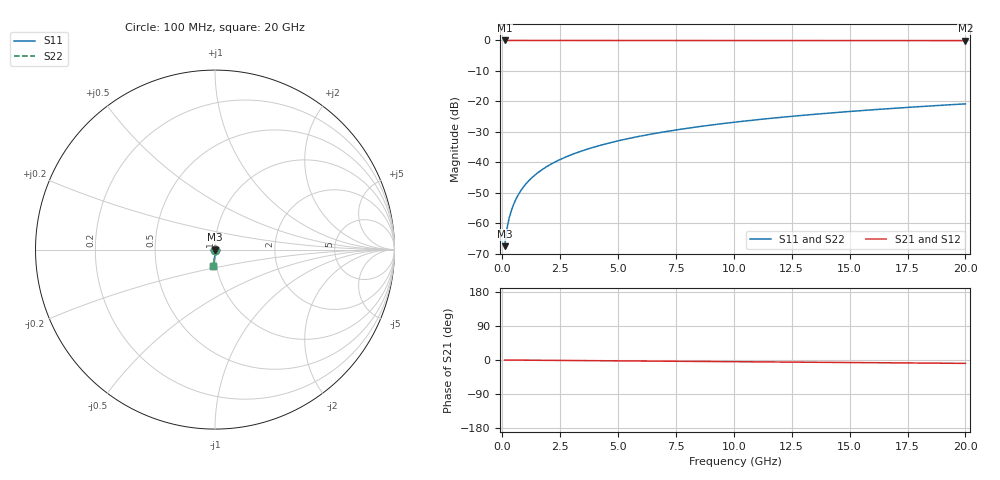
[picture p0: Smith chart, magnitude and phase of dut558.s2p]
! Touchstone file exported from HFSS 2026.1.0
!  File:  C:/ffzhzh/LocalFiles/Ansys_Project_Files/temp_train_TSV_558_1783024461_46388.aedt
!  Generated:  04:35:50 AM Jul  3, 2026
!  Design:  TSV
!  Project:  temp_train_TSV_558_1783024461_46388
! Variables:
!  h_bsmrdl = 2um
!  h_ox = 20um
!  h_rdl = 5um
!  h_sub = 77.41um
!  h_tmrdl = 5um
!  h_tsv = 77.41um
!  h_via = 3um
!  l_bsmrdl = 300um
!  l_sub = 420.3um
!  l_tmrdl = 200um
!  m_sub = 200um
!  pitch = 25.15um
!  r_tsv = 10.15um
!  s_tmrdl = 10um
!  w_bsmrdl = 18um
!  w_sub = 500um
!  w_tmrdl = 12um
!  x_tsv_center1 = 206um
!  x_tsv_center2 = 524um
!  x_tsv_center3 = 736um
!  x_tsv_center4 = 1054um
!  x_tsv_center5 = 1266um
!  x_tsv_center6 = 1584um
# GHz S MA R 50.000000
! Terminal data exported
! Port[1] = TSV1_1_T1
! Port[2] = TSV1_1_T2
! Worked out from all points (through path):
!   200 points, 100 MHz to 20 GHz, reference 50 ohm
!   highest |S21| = 0.00 dB at 100 MHz (marker M1); lowest = -0.1 dB at 20 GHz (marker M2)
!   group delay of S21, straight-line fit = 1.23 ps
!   lowest |S11| = -67.6 dB at 100 MHz (marker M3), VSWR 1.00, Z = 50 - j0.0395 ohm
!   |S11| at or under -10 dB: start of sweep to end of sweep
!   |S22| runs from -67.6 to -20.8 dB; largest |S21 - S12| = 2.1e-15
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0.1  0.0004185 -70.6  0.9999 -0.0  0.9999 -0.0  0.0004185 -70.6
! Gamma 0 0 0 0
! Port Impedance 50 0 50 0
0.2  0.0008117 -78.7  0.9998 -0.1  0.9998 -0.1  0.0008117 -78.7
0.3  0.001222 -81.1  0.9998 -0.1  0.9998 -0.1  0.001222 -81.1
0.4  0.001644 -82.3  0.9998 -0.2  0.9998 -0.2  0.001644 -82.3
0.5  0.002077 -83.0  0.9997 -0.2  0.9997 -0.2  0.002077 -83.0
0.7  0.002963 -84.1  0.9997 -0.3  0.9997 -0.3  0.002963 -84.1
0.8  0.003411 -84.5  0.9996 -0.4  0.9996 -0.4  0.003411 -84.5
1  0.004314 -85.2  0.9996 -0.5  0.9996 -0.5  0.004314 -85.2
1.2  0.005218 -85.9  0.9996 -0.5  0.9996 -0.5  0.005218 -85.9
1.4  0.006124 -86.4  0.9995 -0.6  0.9995 -0.6  0.006124 -86.4
1.7  0.007481 -87.0  0.9995 -0.8  0.9995 -0.8  0.007481 -87.0
2  0.008838 -87.5  0.9994 -0.9  0.9994 -0.9  0.008838 -87.5
2.7  0.01201 -88.4  0.9993 -1.2  0.9993 -1.2  0.01201 -88.4
3.5  0.01563 -89.1  0.9992 -1.6  0.9992 -1.6  0.01563 -89.1
4.2  0.01881 -89.7  0.9991 -1.9  0.9991 -1.9  0.01881 -89.7
5  0.02246 -90.2  0.9989 -2.2  0.9989 -2.2  0.02246 -90.2
6.8  0.03069 -91.3  0.9986 -3.0  0.9986 -3.0  0.03069 -91.3
8.3  0.03755 -92.1  0.9982 -3.7  0.9982 -3.7  0.03755 -92.1
10.1  0.04579 -93.0  0.9978 -4.5  0.9978 -4.5  0.04579 -93.0
13.4  0.06088 -94.7  0.9968 -6.0  0.9968 -6.0  0.06088 -94.7
16.7  0.07591 -96.3  0.9956 -7.4  0.9956 -7.4  0.07591 -96.3
20  0.09088 -97.8  0.9942 -8.9  0.9942 -8.9  0.09088 -97.8
